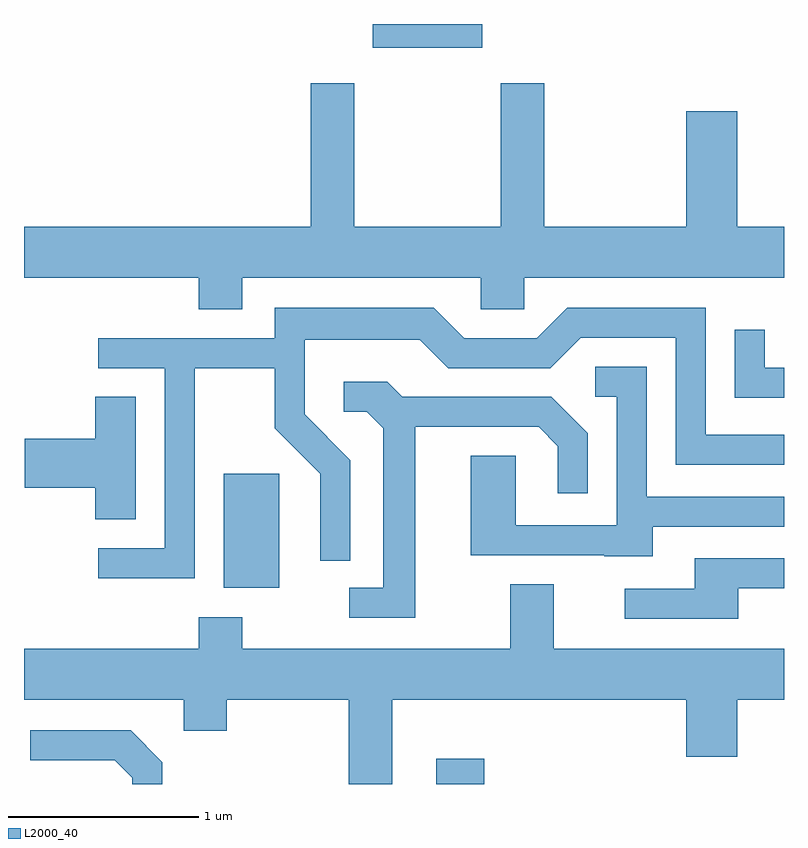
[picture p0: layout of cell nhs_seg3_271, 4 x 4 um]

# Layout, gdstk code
import gdstk
lib = gdstk.Library(unit=1e-6, precision=1e-09)
def R(c, l, rs):  # rectangles x0, y0, x1, y1
    for r in rs: c.add(gdstk.rectangle(r[:2], r[2:], *l))
def P(c, l, *ps):  # polygons
    for p in ps: c.add(gdstk.Polygon(p, *l))
L2000_40 = (2000, 40)

nhs_seg3_271 = lib.new_cell('nhs_seg3_271')
R(nhs_seg3_271, L2000_40, [(193.781,1249.892,194.034,1250.024), (192.661,1250.926,192.954,1251.524), (193.446,1253.766,194.024,1253.892)])
P(nhs_seg3_271, L2000_40, [(192.759,1252.556),(194.016,1252.556),(194.016,1252.391),(194.244,1252.391),(194.244,1252.556),(195.611,1252.556),(195.611,1252.824),(195.364,1252.824),(195.364,1253.434),(195.096,1253.434),(195.096,1252.824),(194.349,1252.824),(194.349,1253.579),(194.121,1253.579),(194.121,1252.824),(193.349,1252.824),(193.349,1253.579),(193.121,1253.579),(193.121,1252.824),(191.611,1252.824),(191.611,1252.556),(192.531,1252.556),(192.531,1252.391),(192.759,1252.391)],
  [(192.509,1252.081),(192.931,1252.081),(192.931,1251.764),(193.171,1251.524),(193.171,1251.068),(193.329,1251.068),(193.329,1251.597),(193.089,1251.837),(193.089,1252.231),(193.694,1252.231),(193.844,1252.081),(194.382,1252.081),(194.542,1252.241),(195.041,1252.241),(195.041,1251.571),(195.611,1251.571),(195.611,1251.729),(195.199,1251.729),(195.199,1252.399),(194.469,1252.399),(194.309,1252.239),(193.927,1252.239),(193.767,1252.399),(192.931,1252.399),(192.931,1252.239),(192.003,1252.239),(192.003,1252.081),(192.351,1252.081),(192.351,1251.134),(192.003,1251.134),(192.003,1250.976),(192.509,1250.976)],
  [(195.611,1252.084),(195.509,1252.084),(195.509,1252.283),(195.351,1252.283),(195.351,1251.926),(195.611,1251.926)],
  [(194.919,1251.246),(195.611,1251.246),(195.611,1251.404),(194.889,1251.404),(194.889,1252.089),(194.618,1252.089),(194.618,1251.931),(194.731,1251.931),(194.731,1251.254),(194.199,1251.254),(194.199,1251.619),(193.961,1251.619),(193.961,1251.096),(194.665,1251.096),(194.665,1251.091),(194.919,1251.091)],
  [(193.669,1251.771),(194.319,1251.771),(194.421,1251.669),(194.421,1251.423),(194.579,1251.423),(194.579,1251.737),(194.387,1251.929),(193.602,1251.929),(193.522,1252.009),(193.293,1252.009),(193.293,1251.851),(193.414,1251.851),(193.501,1251.764),(193.501,1250.924),(193.323,1250.924),(193.323,1250.766),(193.669,1250.766)],
  [(192.199,1251.929),(191.986,1251.929),(191.986,1251.709),(191.616,1251.709),(191.616,1251.451),(191.986,1251.451),(191.986,1251.286),(192.199,1251.286)],
  [(195.369,1250.921),(195.611,1250.921),(195.611,1251.079),(195.141,1251.079),(195.141,1250.919),(194.773,1250.919),(194.773,1250.761),(195.369,1250.761)],
  [(193.549,1250.336),(195.096,1250.336),(195.096,1250.036),(195.364,1250.036),(195.364,1250.336),(195.611,1250.336),(195.611,1250.604),(194.399,1250.604),(194.399,1250.944),(194.171,1250.944),(194.171,1250.604),(192.759,1250.604),(192.759,1250.769),(192.531,1250.769),(192.531,1250.604),(191.611,1250.604),(191.611,1250.336),(192.451,1250.336),(192.451,1250.171),(192.679,1250.171),(192.679,1250.336),(193.321,1250.336),(193.321,1249.892),(193.549,1249.892)],
  [(192.339,1250.007),(192.172,1250.174),(191.643,1250.174),(191.643,1250.016),(192.089,1250.016),(192.181,1249.924),(192.181,1249.892),(192.339,1249.892)])

lib.write_gds('nhs_seg3_271.gds')
